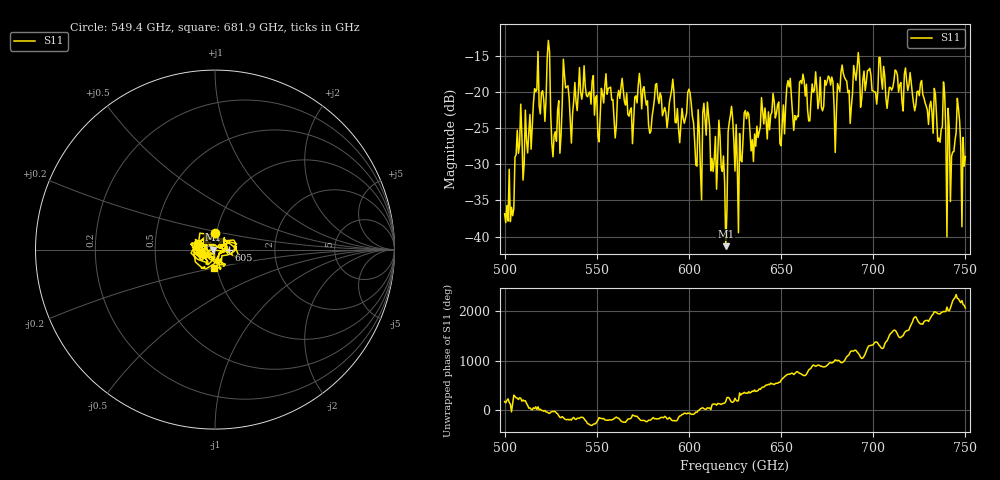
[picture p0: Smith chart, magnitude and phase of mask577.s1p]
!Created with skrf (http://scikit-rf.org).
# GHz S MA R 50.0
!freq magS11 angS11
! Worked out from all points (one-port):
!   401 points, 500 GHz to 750 GHz, reference 50 ohm
!   lowest |S11| = -41.3 dB at 620 GHz (marker M1), VSWR 1.02, Z = 49.1 + j0.0318 ohm
!   |S11| at or under -10 dB: start of sweep to end of sweep
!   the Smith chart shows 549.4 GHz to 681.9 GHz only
!   S11 on the Smith chart (normalised r, x): 549.4 GHz: 0.99, +0.18; 605 GHz: 1.16, -0.01; 681.9 GHz: 0.97, -0.20
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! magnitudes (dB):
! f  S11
! 500 GHz  -36.8
! 516.9 GHz  -19.9
! 523.8 GHz  -12.9
! 526.9 GHz  -26.0
! 531.2 GHz  -21.7
! 549.4 GHz  -20.7
! 562.5 GHz  -20.9
! 579.4 GHz  -25.4
! 590.6 GHz  -19.7
! 593.8 GHz  -22.3
! 600.6 GHz  -20.1
! 605 GHz  -22.4
! 609.4 GHz  -26.0
! 620 GHz  -41.3
! 622.5 GHz  -23.2
! 625 GHz  -30.9
! 627.5 GHz  -25.7
! 631.2 GHz  -23.7
! 635 GHz  -29.6
! 656.2 GHz  -23.1
! 681.9 GHz  -19.9
! 687.5 GHz  -24.3
! 690.6 GHz  -18.4
! 718.8 GHz  -19.8
! 738.1 GHz  -18.6
! 741.2 GHz  -25.0
! 745.6 GHz  -20.9
! 750 GHz  -28.9
